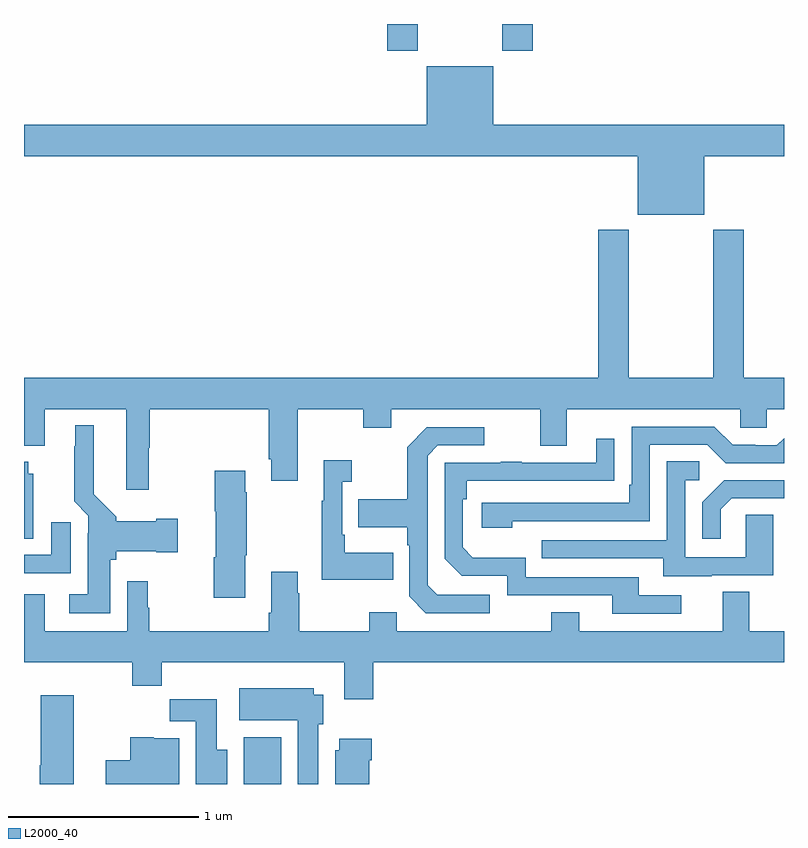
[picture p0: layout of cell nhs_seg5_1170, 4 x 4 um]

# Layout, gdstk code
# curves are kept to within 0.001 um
import gdstk
lib = gdstk.Library(unit=1e-6, precision=1e-09)
def R(c, l, rs):  # rectangles x0, y0, x1, y1
    for r in rs: c.add(gdstk.rectangle(r[:2], r[2:], *l))
def P(c, l, *ps):  # polygons
    for p in ps: c.add(gdstk.Polygon(p, *l))
L2000_40 = (2000, 40)

nhs_seg5_1170 = lib.new_cell('nhs_seg5_1170')
R(nhs_seg5_1170, L2000_40, [(184.157,842.799,184.353,843.046), (184.913,846.657,185.073,846.799), (185.518,846.657,185.678,846.799)])
P(nhs_seg5_1170, L2000_40, [(186.58,846.104),(187,846.104),(187,846.268),(185.47,846.268),(185.47,846.577),(185.12,846.577),(185.12,846.268),(183,846.268),(183,846.104),(186.23,846.104),(186.23,845.795),(186.58,845.795)],
  [(183.657,844.568),(183.662,844.568),(183.662,844.772),(184.289,844.772),(184.289,844.507),(184.301,844.507),(184.301,844.395),(184.441,844.395),(184.441,844.772),(184.786,844.772),(184.786,844.673),(184.933,844.673),(184.933,844.772),(185.717,844.772),(185.717,844.578),(185.857,844.578),(185.857,844.772),(186.771,844.772),(186.771,844.674),(186.909,844.674),(186.909,844.772),(187,844.772),(187,844.936),(186.788,844.936),(186.788,845.716),(186.628,845.716),(186.628,844.936),(186.183,844.936),(186.183,845.716),(186.023,845.716),(186.023,844.936),(183,844.936),(183,844.58),(183.109,844.58),(183.109,844.772),(183.539,844.772),(183.539,844.347),(183.657,844.347)],
  [(183.454,843.978),(183.485,843.978),(183.485,844.025),(183.695,844.025),(183.695,844.018),(183.808,844.018),(183.808,844.196),(183.695,844.196),(183.695,844.183),(183.485,844.183),(183.485,844.206),(183.367,844.324),(183.367,844.687),(183.269,844.687),(183.269,844.577),(183.265,844.577),(183.265,844.286),(183.339,844.212),(183.339,844.118),(183.335,844.118),(183.335,843.799),(183.237,843.799),(183.237,843.698),(183.454,843.698)],
  [(185.57,844.182),(186.294,844.182),(186.294,844.584),(186.597,844.584),(186.693,844.488),(187,844.488),(187,844.618),(186.963,844.581),(186.848,844.581),(186.848,844.584),(186.729,844.584),(186.633,844.68),(186.198,844.68),(186.198,844.375),(186.185,844.375),(186.185,844.278),(185.409,844.278),(185.409,844.148),(185.57,844.148)],
  [(185.452,843.795),(185.175,843.795),(185.124,843.846),(185.124,844.527),(185.178,844.581),(185.422,844.581),(185.422,844.677),(185.121,844.677),(185.016,844.571),(185.016,844.299),(184.759,844.299),(184.759,844.151),(185.016,844.151),(185.016,844.055),(185.028,844.055),(185.028,843.786),(185.115,843.699),(185.452,843.699)],
  [(186.46,843.792),(186.235,843.792),(186.235,843.888),(185.64,843.888),(185.64,843.991),(185.363,843.991),(185.31,844.044),(185.31,844.298),(185.33,844.298),(185.33,844.395),(186.107,844.396),(186.107,844.615),(186.011,844.615),(186.011,844.491),(185.621,844.491),(185.621,844.496),(185.509,844.496),(185.509,844.491),(185.214,844.491),(185.214,843.984),(185.304,843.894),(185.544,843.894),(185.544,843.792),(186.095,843.792),(186.095,843.696),(186.46,843.696)],
  [(184.943,844.015),(184.687,844.015),(184.687,844.111),(184.674,844.111),(184.674,844.391),(184.726,844.391),(184.726,844.504),(184.577,844.504),(184.577,844.291),(184.566,844.291),(184.566,843.875),(184.943,843.875)],
  [(186.619,843.897),(186.943,843.897),(186.943,844.217),(186.798,844.217),(186.798,843.993),(186.48,843.993),(186.48,844.398),(186.553,844.398),(186.553,844.499),(186.384,844.499),(186.384,844.083),(185.725,844.083),(185.725,843.987),(186.365,843.987),(186.365,843.893),(186.619,843.893)],
  [(183.049,844.431),(183.022,844.431),(183.022,844.495),(183,844.495),(183,844.09),(183.049,844.09)],
  [(184.165,844.003),(184.173,844.003),(184.173,844.334),(184.165,844.334),(184.165,844.447),(184.003,844.447),(184.003,844.234),(184.01,844.234),(184.01,843.992),(183.998,843.992),(183.998,843.78),(184.165,843.78)],
  [(186.667,844.245),(186.724,844.302),(187,844.302),(187,844.398),(186.686,844.398),(186.57,844.282),(186.57,844.089),(186.667,844.089)],
  [(183.247,844.177),(183.143,844.177),(183.143,844.005),(183,844.005),(183,843.909),(183.247,843.909)],
  [(184.838,843.44),(187,843.44),(187,843.604),(186.817,843.604),(186.817,843.812),(186.677,843.812),(186.677,843.604),(185.923,843.604),(185.923,843.703),(185.776,843.703),(185.776,843.604),(184.962,843.604),(184.962,843.703),(184.816,843.703),(184.816,843.604),(184.449,843.604),(184.449,843.803),(184.441,843.803),(184.441,843.916),(184.301,843.916),(184.301,843.7),(184.289,843.7),(184.289,843.604),(183.659,843.604),(183.659,843.726),(183.652,843.726),(183.652,843.865),(183.543,843.865),(183.543,843.604),(183.109,843.604),(183.109,843.799),(183,843.799),(183,843.44),(183.569,843.44),(183.569,843.316),(183.725,843.316),(183.725,843.44),(184.685,843.44),(184.685,843.246),(184.838,843.246)],
  [(184.549,843.114),(184.576,843.114),(184.576,843.268),(184.525,843.268),(184.525,843.304),(184.133,843.304),(184.133,843.134),(184.442,843.134),(184.442,842.799),(184.549,842.799)],
  [(183.262,843.265),(183.089,843.265),(183.089,842.899),(183.082,842.899),(183.082,842.799),(183.262,842.799)],
  [(184.069,842.98),(184.015,842.98),(184.015,843.246),(183.766,843.246),(183.766,843.128),(183.905,843.128),(183.905,842.799),(184.069,842.799)],
  [(183.817,843.04),(183.684,843.04),(183.684,843.046),(183.559,843.046),(183.559,842.925),(183.429,842.925),(183.429,842.799),(183.817,842.799)],
  [(184.816,842.924),(184.829,842.924),(184.829,843.037),(184.658,843.037),(184.658,842.976),(184.637,842.976),(184.637,842.799),(184.816,842.799)])

lib.write_gds('nhs_seg5_1170.gds')
